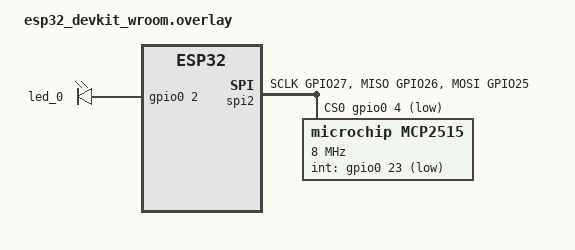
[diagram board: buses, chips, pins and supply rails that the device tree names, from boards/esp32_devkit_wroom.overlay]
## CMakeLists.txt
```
cmake_minimum_required(VERSION 3.20.0)

set(BOARD esp32_devkitc_wroom)
set(DTO_DIR ${CMAKE_CURRENT_SOURCE_DIR}/boards)
set(DTC_OVERLAY_FILE ${DTO_DIR}/esp32_devkit_wroom.overlay)
find_package(Zephyr REQUIRED HINTS $ENV{ZEPHYR_BASE})

project(can_mcp2515)

target_sources(app PRIVATE src/main.c)
```

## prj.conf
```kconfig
CONFIG_ESP32_USE_UNSUPPORTED_REVISION=y
CONFIG_STDOUT_CONSOLE=y
CONFIG_GPIO=y
CONFIG_CAN=y
CONFIG_SPI=y
CONFIG_ASSERT=y
```

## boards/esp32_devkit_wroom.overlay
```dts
/{
    leds {
        compatible = "gpio-leds";
        led_0:led_0 {
            gpios = <&gpio0 2 GPIO_ACTIVE_HIGH>;
        };
    };

    chosen{
        zephyr,canbus = &mcp2515;
    };
};


&pinctrl {
    spi2_default:spi2_default{
        group1{
            pinmux = <SPIM2_SCLK_GPIO27>,
                     <SPIM2_MISO_GPIO26>,
                     <SPIM2_MOSI_GPIO25>;
        };
    };
};


&spi2 {
    status = "okay";
    pinctrl-0 = <&spi2_default>;
    cs-gpios = <&gpio0 4 GPIO_ACTIVE_LOW>;

    mcp2515: can@0  {
        compatible = "microchip,mcp2515";
        osc-freq = <8000000>;
        spi-max-frequency = <8000000>;
        int-gpios = <&gpio0 23 GPIO_ACTIVE_LOW>;
        sample-point = <875>;
        reg = <0x0>;
        tja1050{
            min-bitrate = <40000>;
            max-bitrate = <1000000>;
        };
    };

};
```

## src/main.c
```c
#include <zephyr/kernel.h>
#include <zephyr/sys/printk.h>
#include <zephyr/drivers/gpio.h>
#include <zephyr/device.h>
#include <zephyr/drivers/can.h>

static const struct gpio_dt_spec led = GPIO_DT_SPEC_GET(DT_NODELABEL(led_0), gpios);
static const struct device *can_dev = DEVICE_DT_GET(DT_CHOSEN(zephyr_canbus));

void rx_callback_function(const struct device *dev, struct can_frame *frame, void *user_data)
{
    printk("\nFRAME ID: [%d]", frame->id);
    printk("FRAME DLC: [%d]", frame->dlc);
    for (int i = 0; i < frame->dlc; i++)
    {
        printk("Frame[%d]: %d ", i, frame->data[i]);
    }
}

struct can_frame can_frame = {
    .flags = 0,
    .id = 0x123,
    .dlc = 8,
    .data = {1, 2, 3, 4, 5, 6, 7, 8}};

const struct can_filter my_filter = {
    .flags = 0,
    .id = 0x123,
    .mask = 0};

void send_can_data()
{
    int ret = can_send(can_dev, &can_frame, K_MSEC(100), NULL, NULL);
    if (ret != 0)
    {
        printk("Sending failed [%d]", ret);
    }
}

void main(void)
{
    int ret = 0;
    int filter;
    // check can device

    __ASSERT(device_is_ready(can_dev) == true, "can device not ready");
    __ASSERT(can_set_mode(can_dev, CAN_MODE_LOOPBACK) == 0, "can_start() returned != zero!");
    filter = can_add_rx_filter(can_dev, rx_callback_function, NULL, &my_filter);
    __ASSERT(can_start(can_dev) == 0, "can_start() returned != zero!");
    
    printk("CAN OK\n");

    if (!device_is_ready(led.port))
    {
        return;
    }
    else
    {
        ret = gpio_pin_configure_dt(&led, GPIO_OUTPUT);
        if (ret < 0)
        {
            return;
        }
        else
        {
            // just to dont leave a if withou else ;p
        }
    }

    while (1)
    {
        // printk("Hello, Zephyr!\n");
        ret = gpio_pin_toggle_dt(&led);
        send_can_data();
        k_sleep(K_MSEC(500));
    }
}
```
